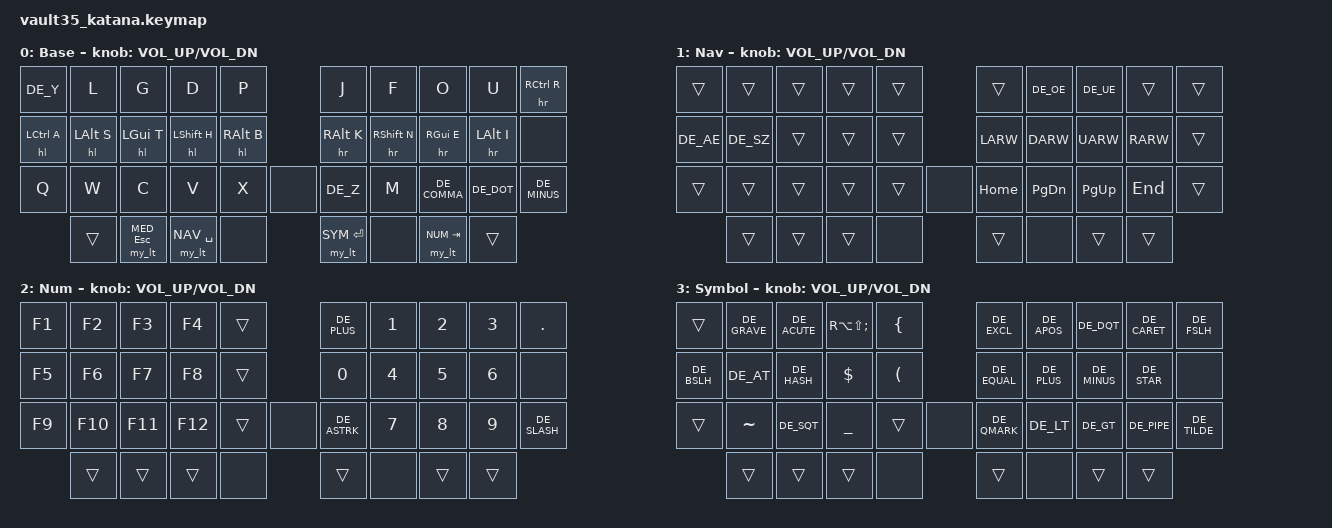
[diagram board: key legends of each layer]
/*
 * Copyright (c) 2020 The ZMK Contributors
 *
 * SPDX-License-Identifier: MIT
 */

#include "base_vault35_katana.h"

/ {
    keymap {
        compatible = "zmk,keymap";

        kneir_layer {
            label = "Base";
            bindings = <
       &kp DE_Y      &kp L        &kp G        &kp D          &kp P              &kp J         &kp F         &kp O        &kp U       &hr RCTRL R
       &hl LCTRL A   &hl LALT S   &hl LGUI T   &hl LSHFT H    &hl RALT B         &hr RALT K    &hr RSHFT N   &hr RGUI E   &hr LALT I  &none
       &kp Q         &kp W        &kp C        &kp V          &kp X      &none   &kp DE_Z      &kp M         &kp DE_COMMA &kp DE_DOT  &kp DE_MINUS
                     &trans       &my_lt MED ESC  &my_lt NAV SPACE &none &my_lt SYM ENTER &none   &my_lt NUM TAB &trans
                     // &kp N1       &kp N2  &kp N3 &kp N4 &kp N5 &kp N6   &kp N7 &kp N8
            >;
		sensor-bindings = <&inc_dec_kp C_VOL_UP C_VOL_DN>;
        };

        nav_layer {
            label = "Nav";
            bindings = <
       &trans     &trans     &trans      &trans          &trans           &trans           &kp DE_OE      &kp DE_UE   &trans     &trans
       &kp DE_AE  &kp DE_SZ  &trans      &trans          &trans           &kp LARW         &kp DARW       &kp UARW    &kp RARW   &trans
       &trans     &trans     &trans      &trans          &trans   &none   &kp HOME         &kp PG_DN      &kp PG_UP   &kp END    &trans
                  &trans     &trans      &trans          &none            &trans           &none          &trans      &trans
            >;
		sensor-bindings = <&inc_dec_kp C_VOL_UP C_VOL_DN>;
        };

        num_layer {
            label = "Num";
            bindings = <
       &kp F1     &kp F2     &kp F3      &kp F4          &trans           &kp DE_PLUS   &kp N1         &kp N2      &kp N3     &kp DOT
       &kp F5     &kp F6     &kp F7      &kp F8          &trans           &kp N0        &kp N4         &kp N5      &kp N6     &none
       &kp F9     &kp F10    &kp F11     &kp F12         &trans   &none   &kp DE_ASTRK  &kp N7         &kp N8      &kp N9     &kp DE_SLASH
                  &trans     &trans      &trans          &none            &trans           &none          &trans      &trans
            >;
		sensor-bindings = <&inc_dec_kp C_VOL_UP C_VOL_DN>;
        };

        symbol_layer {
            label = "Symbol";
            bindings = <
       &trans         &kp DE_GRAVE   &kp DE_ACUTE   &kp RA(LS(SEMI)) &kp LBRC       &kp DE_EXCL     &kp DE_APOS    &kp DE_DQT     &kp DE_CARET   &kp DE_FSLH
       &kp DE_BSLH    &kp DE_AT      &kp DE_HASH    &kp DOLLAR       &kp LPAR       &kp DE_EQUAL    &kp DE_PLUS    &kp DE_MINUS   &kp DE_STAR    &none
       &trans         &kp TILDE      &kp DE_SQT     &kp UNDERSCORE   &trans  &none  &kp DE_QMARK    &kp DE_LT      &kp DE_GT      &kp DE_PIPE    &kp DE_TILDE
                      &trans         &trans         &trans           &none          &trans          &none          &trans      &trans
            >;
		sensor-bindings = <&inc_dec_kp C_VOL_UP C_VOL_DN>;
        };
    };

};
